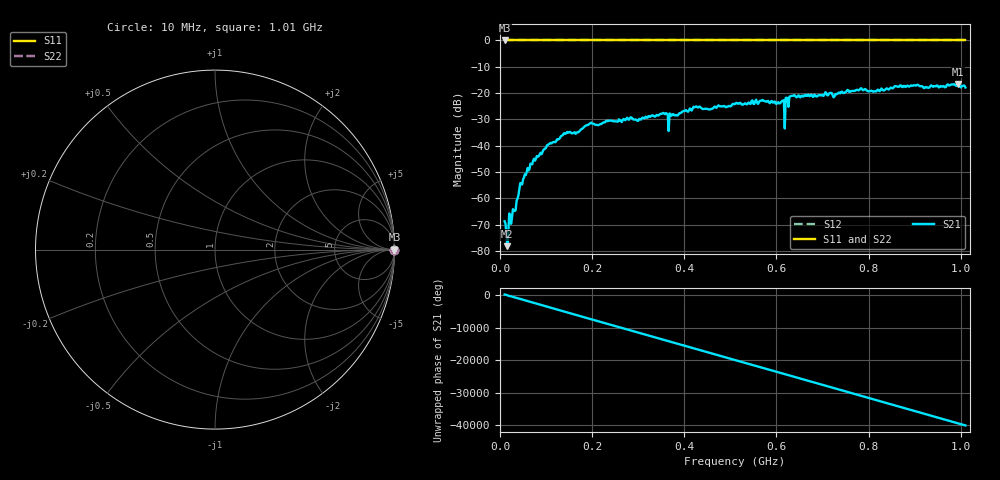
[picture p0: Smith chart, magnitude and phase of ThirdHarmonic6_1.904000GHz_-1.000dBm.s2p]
! 8/16/2025 10:58:47 PM
! C:\ANRITSUVNA\TEMP\TEMP.S2P
! CHANNEL.1
! TR.MEASUREMENT
! RAW.DATA
! RF.CORRECTION.OFF
! AVERAGING.OFF
! IF.BANDWIDTH: 5KHZ
! SWEEPTYPE:  FREQ.SWEEP(Linear)
! Reference Plane Port Info
! PORT:  PORT1  PORT2
! DISTANCE:  0  m  0  m
! TIME:  0  s  0  s
! PHASE.OFFSET:  0  deg.  0  deg.
! LOSS:  0  dB  0  dB
! REF.LOSS:  0  dB  0  dB
! REF.FREQ:  0  Hz  0  Hz
! Power Info
! POWER:  -20  dBm  -20  dBm
! EFF.POWER:  -20  dBm  -20  dBm
! SOURCE.ATTEN:  0  dB  0  dB
! TEST.ATTEN:  0  dB  0  dB
# GHZ S RI R 50.0
! FREQ.GHZ  S11RE  S11IM  S21RE  S21IM  S12RE  S12IM  S22RE  S22IM
!; PortSelection: Port_12
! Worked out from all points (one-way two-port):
!   501 points, 10 MHz to 1.01 GHz, reference 50 ohm
!   highest |S21| = -16.56 dB at 994 MHz (marker M1); lowest = -78.2 dB at 16 MHz (marker M2)
!   lowest |S11| = 0.0 dB at 10 MHz (marker M3)
!   |S11| at or under -10 dB: nowhere
!   |S22| runs from 0.0 to 0.0 dB; largest |S21 - S12| = 1.1
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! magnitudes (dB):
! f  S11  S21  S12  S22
! 10 MHz  0.0  -68.8  0.0  0.0
! 16 MHz  0.0  -78.2  0.0  0.0
! 24 MHz  0.0  -69.7  0.0  0.0
! 34 MHz  0.0  -64.5  0.0  0.0
! 46 MHz  0.0  -54.4  0.0  0.0
! 70 MHz  0.0  -47.1  0.0  0.0
! 136 MHz  0.0  -36.0  0.0  0.0
! 178 MHz  0.0  -33.6  0.0  0.0
! 198 MHz  0.0  -31.2  0.0  0.0
! 344 MHz  0.0  -28.6  0.0  0.0
! 370 MHz  0.0  -28.1  0.0  0.0
! 424 MHz  0.0  -25.3  0.0  0.0
! 510 MHz  0.0  -24.2  0.0  0.0
! 612 MHz  0.0  -23.0  0.0  0.0
! 614 MHz  0.0  -22.9  0.0  0.0
! 622 MHz  0.0  -21.8  0.0  0.0
! 624 MHz  0.0  -21.9  0.0  0.0
! 632 MHz  0.0  -21.1  0.0  0.0
! 678 MHz  0.0  -21.3  0.0  0.0
! 844 MHz  0.0  -18.7  0.0  0.0
! 994 MHz  0.0  -16.6  0.0  0.0
! 1.01 GHz  0.0  -17.9  0.0  0.0
